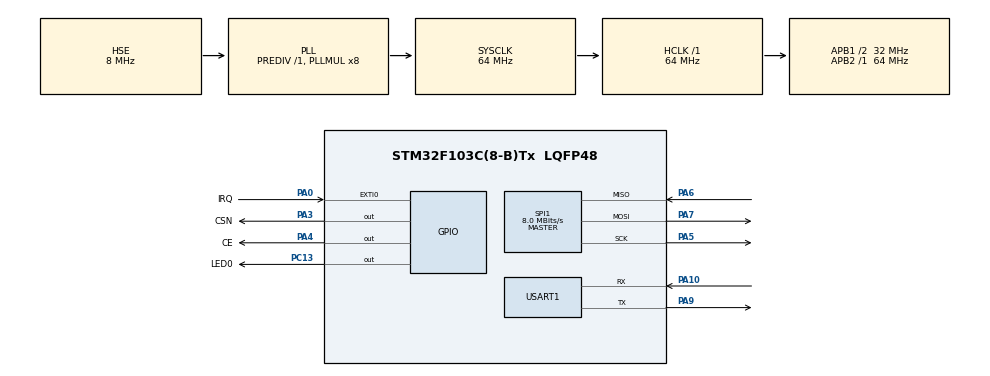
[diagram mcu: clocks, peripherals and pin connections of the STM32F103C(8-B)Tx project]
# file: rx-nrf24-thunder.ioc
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Mcu.Family=STM32F1
Mcu.Name=STM32F103C(8-B)Tx
Mcu.Package=LQFP48
NVIC.PriorityGroup=NVIC_PRIORITYGROUP_4
PA0-WKUP.GPIO_Label=IRQ
PA0-WKUP.Signal=GPXTI0
PA10.Mode=Asynchronous
PA10.Signal=USART1_RX
PA3.GPIO_Label=CSN
PA3.Signal=GPIO_Output
PA4.GPIO_Label=CE
PA4.Signal=GPIO_Output
PA5.Mode=Full_Duplex_Master
PA5.Signal=SPI1_SCK
PA6.Mode=Full_Duplex_Master
PA6.Signal=SPI1_MISO
PA7.Mode=Full_Duplex_Master
PA7.Signal=SPI1_MOSI
PA9.Mode=Asynchronous
PA9.Signal=USART1_TX
PC13-TAMPER-RTC.GPIO_Label=LED0
PC13-TAMPER-RTC.Signal=GPIO_Output
PD0-OSC_IN.Mode=HSE-External-Oscillator
PD0-OSC_IN.Signal=RCC_OSC_IN
PD1-OSC_OUT.Mode=HSE-External-Oscillator
PD1-OSC_OUT.Signal=RCC_OSC_OUT
ProjectManager.HeapSize=0x200
ProjectManager.StackSize=0x400
ProjectManager.TargetToolchain=STM32CubeIDE
RCC.AHBFreq_Value=64000000
RCC.APB1CLKDivider=RCC_HCLK_DIV2
RCC.APB1Freq_Value=32000000
RCC.APB1TimFreq_Value=64000000
RCC.APB2Freq_Value=64000000
RCC.APB2TimFreq_Value=64000000
RCC.HCLKFreq_Value=64000000
RCC.PLLMUL=RCC_PLL_MUL8
RCC.PLLSourceVirtual=RCC_PLLSOURCE_HSE
RCC.SYSCLKFreq_VALUE=64000000
RCC.SYSCLKSource=RCC_SYSCLKSOURCE_PLLCLK
RCC.USBFreq_Value=64000000
SPI1.BaudRatePrescaler=SPI_BAUDRATEPRESCALER_8
SPI1.CalculateBaudRate=8.0 MBits/s
SPI1.Direction=SPI_DIRECTION_2LINES
SPI1.Mode=SPI_MODE_MASTER
SPI1.VirtualType=VM_MASTER
USART1.VirtualMode=VM_ASYNC
VP_SYS_VS_ND.Mode=No_Debug
board=custom

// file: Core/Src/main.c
/* USER CODE BEGIN Header */
/**
  ******************************************************************************
  * @file           : main.c
  * @brief          : Main program body
  ******************************************************************************
  * @attention
  *
  * Copyright (c) 2024 STMicroelectronics.
  * All rights reserved.
  *
  * This software is licensed under terms that can be found in the LICENSE file
  * in the root directory of this software component.
  * If no LICENSE file comes with this software, it is provided AS-IS.
  *
  ******************************************************************************
  */
/* USER CODE END Header */
#include "main.h"

/* USER CODE BEGIN Includes */
#include <string.h>
#include "rf24.h"

/* USER CODE END Includes */

SPI_HandleTypeDef hspi1;

UART_HandleTypeDef huart1;

void SystemClock_Config(void);
static void MX_GPIO_Init(void);
static void MX_SPI1_Init(void);
static void MX_USART1_UART_Init(void);

int main(void)
{

  /* MCU Configuration--------------------------------------------------------*/

  /* Reset of all peripherals, Initializes the Flash interface and the Systick. */
  HAL_Init();

  /* Configure the system clock */
  SystemClock_Config();

  /* Initialize all configured peripherals */
  MX_GPIO_Init();
  MX_SPI1_Init();
  MX_USART1_UART_Init();
  /* USER CODE BEGIN 2 */
  //rf24_delay(100);
    rf24_dev_t device; /* Module instance */
    rf24_dev_t* p_dev = &device; /* Pointer to module instance */

    /* Device config */

    /* Get default configuration */
    rf24_get_default_config(p_dev);

    /* The SPI2 was chosen in Cube */
    p_dev->platform_setup.hspi = &hspi1;

    /* CSN on pin PC6 */
    p_dev->platform_setup.csn_port = CSN_GPIO_Port;
    p_dev->platform_setup.csn_pin = CSN_Pin;

    /* IRQ on pin PC7 */
    p_dev->platform_setup.irq_port = IRQ_GPIO_Port;
    p_dev->platform_setup.irq_pin = IRQ_Pin;

    /* CE on pin PC8 */
    p_dev->platform_setup.ce_port = CE_GPIO_Port;
    p_dev->platform_setup.ce_pin = CE_Pin;

    p_dev->payload_size = 15;

    rf24_init(p_dev);

    uint8_t addresses[2][5] = {{0xE7, 0xE7, 0xE7, 0xE7, 0xE8}, {0xC2, 0xC2, 0xC2, 0xC2, 0xC1}};

    //No idea what output_power should be
    //rf24_set_output_power(p_dev, output_power);

    rf24_status_t device_status; /* Variable to receive the statuses returned by the functions */

    device_status = rf24_open_writing_pipe(p_dev, addresses[0]);
    device_status = rf24_open_reading_pipe(p_dev, 1, addresses[1]);

    device_status = rf24_start_listening(p_dev);

    uint8_t loop=0;
  /* USER CODE END 2 */

  /* Infinite loop */
  while (1)
  {

    /* USER CODE BEGIN 3 */
	  HAL_GPIO_TogglePin(LED0_GPIO_Port, LED0_Pin);
	  rf24_status_t device_status;
	  rf24_status_t read_status;

	  uint8_t buffer[15] = {"nao"};

	  if ((device_status = rf24_available(p_dev, NULL)) == RF24_SUCCESS) {
	      while ((device_status = rf24_available(p_dev, NULL)) == RF24_SUCCESS) {
	          read_status = rf24_read(p_dev, buffer, p_dev->payload_size);
	      }
	  }

	  char tmp[40];
	  sprintf(tmp, "%d - %s\r\n", loop, buffer);
	  HAL_UART_Transmit(&huart1, tmp, strlen(tmp), 10);
	  loop++;
	  HAL_Delay(1000);
  }
  /* USER CODE END 3 */
}

void SystemClock_Config(void)
{
  RCC_OscInitTypeDef RCC_OscInitStruct = {0};
  RCC_ClkInitTypeDef RCC_ClkInitStruct = {0};

  /** Initializes the RCC Oscillators according to the specified parameters
  * in the RCC_OscInitTypeDef structure.
  */
  RCC_OscInitStruct.OscillatorType = RCC_OSCILLATORTYPE_HSE;
  RCC_OscInitStruct.HSEState = RCC_HSE_ON;
  RCC_OscInitStruct.HSEPredivValue = RCC_HSE_PREDIV_DIV1;
  RCC_OscInitStruct.HSIState = RCC_HSI_ON;
  RCC_OscInitStruct.PLL.PLLState = RCC_PLL_ON;
  RCC_OscInitStruct.PLL.PLLSource = RCC_PLLSOURCE_HSE;
  RCC_OscInitStruct.PLL.PLLMUL = RCC_PLL_MUL8;
  if (HAL_RCC_OscConfig(&RCC_OscInitStruct) != HAL_OK)
  {
    Error_Handler();
  }

  /** Initializes the CPU, AHB and APB buses clocks
  */
  RCC_ClkInitStruct.ClockType = RCC_CLOCKTYPE_HCLK|RCC_CLOCKTYPE_SYSCLK
                              |RCC_CLOCKTYPE_PCLK1|RCC_CLOCKTYPE_PCLK2;
  RCC_ClkInitStruct.SYSCLKSource = RCC_SYSCLKSOURCE_PLLCLK;
  RCC_ClkInitStruct.AHBCLKDivider = RCC_SYSCLK_DIV1;
  RCC_ClkInitStruct.APB1CLKDivider = RCC_HCLK_DIV2;
  RCC_ClkInitStruct.APB2CLKDivider = RCC_HCLK_DIV1;

  if (HAL_RCC_ClockConfig(&RCC_ClkInitStruct, FLASH_LATENCY_2) != HAL_OK)
  {
    Error_Handler();
  }
}

static void MX_SPI1_Init(void)
{

  /* SPI1 parameter configuration*/
  hspi1.Instance = SPI1;
  hspi1.Init.Mode = SPI_MODE_MASTER;
  hspi1.Init.Direction = SPI_DIRECTION_2LINES;
  hspi1.Init.DataSize = SPI_DATASIZE_8BIT;
  hspi1.Init.CLKPolarity = SPI_POLARITY_LOW;
  hspi1.Init.CLKPhase = SPI_PHASE_1EDGE;
  hspi1.Init.NSS = SPI_NSS_SOFT;
  hspi1.Init.BaudRatePrescaler = SPI_BAUDRATEPRESCALER_8;
  hspi1.Init.FirstBit = SPI_FIRSTBIT_MSB;
  hspi1.Init.TIMode = SPI_TIMODE_DISABLE;
  hspi1.Init.CRCCalculation = SPI_CRCCALCULATION_DISABLE;
  hspi1.Init.CRCPolynomial = 10;
  if (HAL_SPI_Init(&hspi1) != HAL_OK)
  {
    Error_Handler();
  }

}

static void MX_USART1_UART_Init(void)
{

  huart1.Instance = USART1;
  huart1.Init.BaudRate = 115200;
  huart1.Init.WordLength = UART_WORDLENGTH_8B;
  huart1.Init.StopBits = UART_STOPBITS_1;
  huart1.Init.Parity = UART_PARITY_NONE;
  huart1.Init.Mode = UART_MODE_TX_RX;
  huart1.Init.HwFlowCtl = UART_HWCONTROL_NONE;
  huart1.Init.OverSampling = UART_OVERSAMPLING_16;
  if (HAL_UART_Init(&huart1) != HAL_OK)
  {
    Error_Handler();
  }

}

static void MX_GPIO_Init(void)
{
  GPIO_InitTypeDef GPIO_InitStruct = {0};

  /* GPIO Ports Clock Enable */
  __HAL_RCC_GPIOC_CLK_ENABLE();
  __HAL_RCC_GPIOD_CLK_ENABLE();
  __HAL_RCC_GPIOA_CLK_ENABLE();

  /*Configure GPIO pin Output Level */
  HAL_GPIO_WritePin(LED0_GPIO_Port, LED0_Pin, GPIO_PIN_RESET);

  /*Configure GPIO pin Output Level */
  HAL_GPIO_WritePin(GPIOA, CSN_Pin|CE_Pin, GPIO_PIN_RESET);

  /*Configure GPIO pin : LED0_Pin */
  GPIO_InitStruct.Pin = LED0_Pin;
  GPIO_InitStruct.Mode = GPIO_MODE_OUTPUT_PP;
  GPIO_InitStruct.Pull = GPIO_NOPULL;
  GPIO_InitStruct.Speed = GPIO_SPEED_FREQ_LOW;
  HAL_GPIO_Init(LED0_GPIO_Port, &GPIO_InitStruct);

  /*Configure GPIO pin : IRQ_Pin */
  GPIO_InitStruct.Pin = IRQ_Pin;
  GPIO_InitStruct.Mode = GPIO_MODE_IT_RISING;
  GPIO_InitStruct.Pull = GPIO_NOPULL;
  HAL_GPIO_Init(IRQ_GPIO_Port, &GPIO_InitStruct);

  /*Configure GPIO pins : CSN_Pin CE_Pin */
  GPIO_InitStruct.Pin = CSN_Pin|CE_Pin;
  GPIO_InitStruct.Mode = GPIO_MODE_OUTPUT_PP;
  GPIO_InitStruct.Pull = GPIO_NOPULL;
  GPIO_InitStruct.Speed = GPIO_SPEED_FREQ_LOW;
  HAL_GPIO_Init(GPIOA, &GPIO_InitStruct);

}

void Error_Handler(void)
{
  __disable_irq();
  while (1)
  {
  }
}
